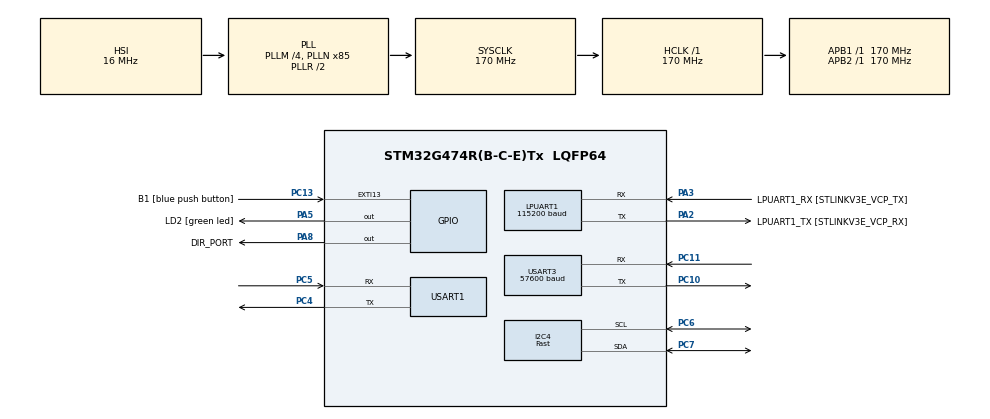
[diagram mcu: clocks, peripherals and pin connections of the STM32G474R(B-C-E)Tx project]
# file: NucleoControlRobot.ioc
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Dma.I2C4_RX.0.Direction=DMA_PERIPH_TO_MEMORY
Dma.I2C4_RX.0.EventEnable=DISABLE
Dma.I2C4_RX.0.Instance=DMA1_Channel1
Dma.I2C4_RX.0.MemDataAlignment=DMA_MDATAALIGN_BYTE
Dma.I2C4_RX.0.MemInc=DMA_MINC_ENABLE
Dma.I2C4_RX.0.Mode=DMA_NORMAL
Dma.I2C4_RX.0.PeriphDataAlignment=DMA_PDATAALIGN_BYTE
Dma.I2C4_RX.0.PeriphInc=DMA_PINC_DISABLE
Dma.I2C4_RX.0.Polarity=HAL_DMAMUX_REQ_GEN_RISING
Dma.I2C4_RX.0.Priority=DMA_PRIORITY_LOW
Dma.I2C4_RX.0.RequestNumber=1
Dma.I2C4_RX.0.SignalID=NONE
Dma.I2C4_RX.0.SyncEnable=DISABLE
Dma.I2C4_RX.0.SyncPolarity=HAL_DMAMUX_SYNC_NO_EVENT
Dma.I2C4_RX.0.SyncRequestNumber=1
Dma.I2C4_RX.0.SyncSignalID=NONE
Dma.I2C4_TX.1.Direction=DMA_MEMORY_TO_PERIPH
Dma.I2C4_TX.1.EventEnable=DISABLE
Dma.I2C4_TX.1.Instance=DMA1_Channel2
Dma.I2C4_TX.1.MemDataAlignment=DMA_MDATAALIGN_BYTE
Dma.I2C4_TX.1.MemInc=DMA_MINC_ENABLE
Dma.I2C4_TX.1.Mode=DMA_NORMAL
Dma.I2C4_TX.1.PeriphDataAlignment=DMA_PDATAALIGN_BYTE
Dma.I2C4_TX.1.PeriphInc=DMA_PINC_DISABLE
Dma.I2C4_TX.1.Polarity=HAL_DMAMUX_REQ_GEN_RISING
Dma.I2C4_TX.1.Priority=DMA_PRIORITY_LOW
Dma.I2C4_TX.1.RequestNumber=1
Dma.I2C4_TX.1.SignalID=NONE
Dma.I2C4_TX.1.SyncEnable=DISABLE
Dma.I2C4_TX.1.SyncPolarity=HAL_DMAMUX_SYNC_NO_EVENT
Dma.I2C4_TX.1.SyncRequestNumber=1
Dma.I2C4_TX.1.SyncSignalID=NONE
Dma.Request0=I2C4_RX
Dma.Request1=I2C4_TX
I2C4.I2C_Speed_Mode=I2C_Fast
I2C4.Timing=0x10802D9B
LPUART1.BaudRate=115200
LPUART1.WordLength=UART_WORDLENGTH_8B
Mcu.Family=STM32G4
Mcu.Name=STM32G474R(B-C-E)Tx
Mcu.Package=LQFP64
NVIC.DMA1_Channel1_IRQn=true\:0\:0\:false\:false\:true\:false\:true\:true
NVIC.DMA1_Channel2_IRQn=true\:0\:0\:false\:false\:true\:false\:true\:true
NVIC.EXTI15_10_IRQn=true\:0\:0\:false\:false\:true\:true\:true\:true
NVIC.I2C4_ER_IRQn=true\:0\:0\:false\:false\:true\:true\:true\:true
NVIC.I2C4_EV_IRQn=true\:0\:0\:false\:false\:true\:true\:true\:true
NVIC.PriorityGroup=NVIC_PRIORITYGROUP_4
NVIC.USART1_IRQn=true\:0\:0\:false\:false\:true\:true\:true\:true
NVIC.USART3_IRQn=true\:0\:0\:false\:false\:true\:true\:true\:true
PA13.GPIO_Label=T_SWDIO
PA13.Mode=Serial_Wire
PA13.Signal=SYS_JTMS-SWDIO
PA14.GPIO_Label=T_SWCLK
PA14.Mode=Serial_Wire
PA14.Signal=SYS_JTCK-SWCLK
PA2.GPIO_Label=LPUART1_TX [STLINKV3E_VCP_RX]
PA2.Mode=Asynchronous
PA2.Signal=LPUART1_TX
PA3.GPIO_Label=LPUART1_RX [STLINKV3E_VCP_TX]
PA3.Mode=Asynchronous
PA3.Signal=LPUART1_RX
PA5.GPIO_Label=LD2 [green led]
PA5.Signal=GPIO_Output
PA8.GPIO_Label=DIR_PORT
PA8.GPIO_Speed=GPIO_SPEED_FREQ_VERY_HIGH
PA8.Signal=GPIO_Output
PB3.GPIO_Label=T_SWO
PB3.Signal=SYS_JTDO-SWO
PC10.Mode=Asynchronous
PC10.Signal=USART3_TX
PC11.Mode=Asynchronous
PC11.Signal=USART3_RX
PC13.GPIO_Label=B1 [blue push button]
PC13.Signal=GPXTI13
PC14-OSC32_IN.Mode=LSE-External-Oscillator
PC14-OSC32_IN.Signal=RCC_OSC32_IN
PC15-OSC32_OUT.Mode=LSE-External-Oscillator
PC15-OSC32_OUT.Signal=RCC_OSC32_OUT
PC4.Mode=Asynchronous
PC4.Signal=USART1_TX
PC5.Mode=Asynchronous
PC5.Signal=USART1_RX
PC6.Mode=I2C
PC6.Signal=I2C4_SCL
PC7.Mode=I2C
PC7.Signal=I2C4_SDA
PF0-OSC_IN.Mode=HSE-External-Oscillator
PF0-OSC_IN.Signal=RCC_OSC_IN
PF1-OSC_OUT.Mode=HSE-External-Oscillator
PF1-OSC_OUT.Signal=RCC_OSC_OUT
ProjectManager.HeapSize=0x200
ProjectManager.StackSize=0x400
ProjectManager.TargetToolchain=STM32CubeIDE
RCC.ADC12Freq_Value=170000000
RCC.ADC345Freq_Value=170000000
RCC.AHBFreq_Value=170000000
RCC.APB1Freq_Value=170000000
RCC.APB1TimFreq_Value=170000000
RCC.APB2Freq_Value=170000000
RCC.APB2TimFreq_Value=170000000
RCC.CortexFreq_Value=170000000
RCC.EXTERNAL_CLOCK_VALUE=12288000
RCC.HCLKFreq_Value=170000000
RCC.HSE_VALUE=24000000
RCC.HSI48_VALUE=48000000
RCC.HSI_VALUE=16000000
RCC.PLLM=RCC_PLLM_DIV4
RCC.PLLN=85
RCC.RTCClockSelection=RCC_RTCCLKSOURCE_LSE
RCC.SYSCLKFreq_VALUE=170000000
RCC.SYSCLKSource=RCC_SYSCLKSOURCE_PLLCLK
RCC.USBFreq_Value=170000000
RCC.VCOOutputFreq_Value=340000000
USART1.VirtualMode-Asynchronous=VM_ASYNC
USART3.BaudRate=57600
USART3.VirtualMode-Asynchronous=VM_ASYNC
VP_SYS_VS_DBSignals.Mode=DisableDeadBatterySignals
board=NUCLEO-G474RE

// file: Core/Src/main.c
/* USER CODE BEGIN Header */
/**
  ******************************************************************************
  * @file           : main.c
  * @brief          : Main program body
  ******************************************************************************
  * @attention
  *
  * Copyright (c) 2026 STMicroelectronics.
  * All rights reserved.
  *
  * This software is licensed under terms that can be found in the LICENSE file
  * in the root directory of this software component.
  * If no LICENSE file comes with this software, it is provided AS-IS.
  *
  ******************************************************************************
  */
/* USER CODE END Header */
#include "main.h"

/* USER CODE BEGIN Includes */
#include <stdio.h>
#include <string.h>
#include <math.h>
#include <stdint.h>
/* USER CODE END Includes */

I2C_HandleTypeDef hi2c4;
DMA_HandleTypeDef hdma_i2c4_rx;
DMA_HandleTypeDef hdma_i2c4_tx;

UART_HandleTypeDef hlpuart1;
UART_HandleTypeDef huart1;
UART_HandleTypeDef huart3;

/* USER CODE BEGIN PV */
uint8_t rx_buffer[1];
int currentCommand = 0;

// Flag variable for communication between Interrupt and the main loop
volatile int process_command = -1;

//Var for State Machine and Live Expressions
uint8_t servo0_state = 0;       // Press states
float live_angle_ch0 = 0.0f;    // Angel on Live Expression
uint16_t live_pulse_ch0 = 0;    // Pulse on Live Expression

//PCA9685
#define PCA9685_ADDR 0x40 << 1
#define PCA_MODE1    0x00
#define PCA_PRESCALE 0xFE
#define PCA_LED0_ON_L 0x06
#define SERVO_MIN 150  // min pulse (0 deg)
#define SERVO_MAX 600  // max pulse (180 deg)
/* USER CODE END PV */

void SystemClock_Config(void);
static void MX_GPIO_Init(void);
static void MX_DMA_Init(void);
static void MX_LPUART1_UART_Init(void);
static void MX_USART1_UART_Init(void);
static void MX_I2C4_Init(void);
static void MX_USART3_UART_Init(void);

/* USER CODE BEGIN 0 */
void PCA9685_WriteReg(uint8_t reg, uint8_t value) {
    uint8_t data[2] = {reg, value};
    HAL_I2C_Master_Transmit(&hi2c4, PCA9685_ADDR, data, 2, 100);
}

uint8_t PCA9685_ReadReg(uint8_t reg) {
    uint8_t value;
    HAL_I2C_Master_Transmit(&hi2c4, PCA9685_ADDR, &reg, 1, 100);
    HAL_I2C_Master_Receive(&hi2c4, PCA9685_ADDR, &value, 1, 100);
    return value;
}

void PCA9685_Init(void) {
    PCA9685_WriteReg(PCA_MODE1, 0x00);
    float freq = 50.0f;
    float prescaleval = 25000000.0f;
    prescaleval /= 4096.0f;
    prescaleval /= freq;
    prescaleval -= 1.0f;
    uint8_t prescale = round(prescaleval);

    uint8_t oldmode = PCA9685_ReadReg(PCA_MODE1);
    uint8_t newmode = (oldmode & 0x7F) | 0x10;
    PCA9685_WriteReg(PCA_MODE1, newmode);
    PCA9685_WriteReg(PCA_PRESCALE, prescale);
    PCA9685_WriteReg(PCA_MODE1, oldmode);
    HAL_Delay(5);
    PCA9685_WriteReg(PCA_MODE1, oldmode | 0xA0);
}

void PCA9685_SetPWM(uint8_t channel, uint16_t on, uint16_t off) {
    uint8_t data[5];
    data[0] = PCA_LED0_ON_L + 4 * channel;
    data[1] = on & 0xFF;
    data[2] = on >> 8;
    data[3] = off & 0xFF;
    data[4] = off >> 8;
    HAL_I2C_Master_Transmit(&hi2c4, PCA9685_ADDR, data, 5, 100);
}

void PCA9685_SetAngle(uint8_t channel, float angle) {
    if(angle < 0.0f) angle = 0.0f;
    if(angle > 180.0f) angle = 180.0f;

    uint16_t pulse = SERVO_MIN + (uint16_t)((angle / 180.0f) * (SERVO_MAX - SERVO_MIN));
    PCA9685_SetPWM(channel, 0, pulse);

    if(channel == 0) {
        live_angle_ch0 = angle;
        live_pulse_ch0 = pulse;
    }
}
// ========================================================
//                DYNAMIXEL PROTOCOL 2.0
// =======================================================
// 1. Func Check CRC16
uint16_t update_crc(uint16_t crc_accum, uint8_t *data_blk_ptr, uint16_t data_blk_size) {
    uint16_t i, j;
    for(j = 0; j < data_blk_size; j++) {
        crc_accum ^= ((uint16_t)data_blk_ptr[j] << 8);
        for(i = 0; i < 8; i++) {
            if(crc_accum & 0x8000) crc_accum = (crc_accum << 1) ^ 0x8005;
            else crc_accum = (crc_accum << 1);
        }
    }
    return crc_accum;
}
// 2. Func control 74HC126 auto
void Dynamixel_Transmit(uint8_t *packet, uint16_t length) {
    // open transmit gate
    HAL_GPIO_WritePin(DIR_PORT_GPIO_Port, DIR_PORT_Pin, GPIO_PIN_SET);
    // transmit gate
    HAL_UART_Transmit(&huart3, packet, length, 100);
    // close transmit gate and prepare to recieve data
    HAL_GPIO_WritePin(DIR_PORT_GPIO_Port, DIR_PORT_Pin, GPIO_PIN_RESET);
}
// 3. Torque Enable
void Dynamixel_TorqueEnable(uint8_t id, uint8_t enable) {
    uint8_t packet[13];
    packet[0] = 0xFF; // Header 1
    packet[1] = 0xFF; // Header 2
    packet[2] = 0xFD; // Header 3
    packet[3] = 0x00; // Reserved
    packet[4] = id;   // Packet id
    packet[5] = 0x06; // Length Low
    packet[6] = 0x00; // Length High
    packet[7] = 0x03; // Instruction: WRITE DATA
    packet[8] = 64;   // Address Low Byte (0x40) 64 = enable torque
    packet[9] = 0x00; // Address High Byte (0x00)
    packet[10] = enable; // Header 1

    uint16_t crc = update_crc(0, packet, 11);
    packet[11] = crc & 0xFF;			// CRC Low Byte
    packet[12] = (crc >> 8) & 0xFF;		// CRC High Byte
    Dynamixel_Transmit(packet, 13);
}
// 4. Func control motor angles | Raw Packet | Step 0-4095
void Dynamixel_SetGoalPosition(uint8_t id, uint32_t position) {
    uint8_t packet[16];
    packet[0] = 0xFF;
    packet[1] = 0xFF;
    packet[2] = 0xFD;
    packet[3] = 0x00;
    packet[4] = id;
    packet[5] = 0x09;
    packet[6] = 0x00;
    packet[7] = 0x03;
    // --- Address 116 Goal Pos ---
    packet[8] = 116;
    packet[9] = 0x00;
    // --- Data 4 Bytes (Little-Endian) for 1 Angle ---
    packet[10] = position & 0xFF;
    packet[11] = (position >> 8) & 0xFF;
    packet[12] = (position >> 16) & 0xFF;
    packet[13] = (position >> 24) & 0xFF;

    uint16_t crc = update_crc(0, packet, 14);
    packet[14] = crc & 0xFF;
    packet[15] = (crc >> 8) & 0xFF;
    Dynamixel_Transmit(packet, 16);
}
// 5. Func Convert Deg to Step
void Dynamixel_SetGoalPosition_Degree(uint8_t id, float degree) {
    // Safety Limit
    if (degree < 0.0f) degree = 0.0f;
    if (degree > 360.0f) degree = 360.0f;

    // Convert Degree to Step (0-4095)
    uint32_t step_value = (uint32_t)((degree / 360.0f) * 4095.0f);

    // Send Step Packet
    Dynamixel_SetGoalPosition(id, step_value);
}
// 6. Main Func Read
uint8_t Dynamixel_ReadData(uint8_t id, uint16_t address, uint16_t length, uint8_t *out_data) {
    uint8_t tx_packet[14];
    tx_packet[0] = 0xFF;
    tx_packet[1] = 0xFF;
    tx_packet[2] = 0xFD;
    tx_packet[3] = 0x00;
    tx_packet[4] = id;
    tx_packet[5] = 0x07;
    tx_packet[6] = 0x00;
    tx_packet[7] = 0x02; // READ (0x02)

    // Read Address Little-Endian
    tx_packet[8] = address & 0xFF;
    tx_packet[9] = (address >> 8) & 0xFF;

    // Input Length of read
    tx_packet[10] = length & 0xFF;
    tx_packet[11] = (length >> 8) & 0xFF;

    uint16_t crc = update_crc(0, tx_packet, 12);
    tx_packet[12] = crc & 0xFF;
    tx_packet[13] = (crc >> 8) & 0xFF;

    // Clear RX
    __HAL_UART_CLEAR_OREFLAG(&huart3);
    __HAL_UART_FLUSH_DRREGISTER(&huart3);

    uint8_t dummy;
    while(HAL_UART_Receive(&huart3, &dummy, 1, 0) == HAL_OK) {}

    // Transmit Read command
    Dynamixel_Transmit(tx_packet, 14);

    // Calculate expected read bytes
    uint16_t expected_rx_length = 11 + length;

    uint8_t rx_packet[30];

    // Wait for 50ms
    if (HAL_UART_Receive(&huart3, rx_packet, expected_rx_length, 50) == HAL_OK) {
        // Check if data is from Protocol 2.0 and is the same ID
        if (rx_packet[0] == 0xFF && rx_packet[1] == 0xFF && rx_packet[2] == 0xFD && rx_packet[4] == id) {

            // read Error Code at byte num 8
            uint8_t error_code = rx_packet[8];
            if(error_code != 0) {
                // Print error to serial
                char msg[60];
                sprintf(msg, ">> [ERROR] Motor %d Hardware Error Code: 0x%02X\r\n", id, error_code);
                HAL_UART_Transmit(&hlpuart1, (uint8_t*)msg, strlen(msg), 100);
            }

            // out_data
            for(int i = 0; i < length; i++) {
                out_data[i] = rx_packet[9 + i];
            }
            return 1; // return 1 = success
        }
    }
    return 0; // return 0 = failed
}
// 7.Func Read current Pos (4 bytes; Address 132)
float Dynamixel_GetPresentPosition_Degree(uint8_t id) {
    uint8_t data[4];
    if (Dynamixel_ReadData(id, 132, 4, data)) {
        // Assembly 4 bytes to 32 int
        int32_t step_pos = (int32_t)(data[0] | (data[1] << 8) | (data[2] << 16) | (data[3] << 24));
        // Convert Step to Deg
        float degree = ((float)step_pos / 4095.0f) * 360.0f;
        return degree;
    }
    return -1.0f; // If fail return -1
}
// 8.Func Read Temperature
uint8_t Dynamixel_GetTemperature(uint8_t id) {
    uint8_t data[1];
    if (Dynamixel_ReadData(id, 146, 1, data)) {
        return data[0]; // °C
    }
    return 0; // If fail return 0
}
/* USER CODE END 0 */

int main(void)
{

  /* MCU Configuration--------------------------------------------------------*/

  /* Reset of all peripherals, Initializes the Flash interface and the Systick. */
  HAL_Init();

  /* Configure the system clock */
  SystemClock_Config();

  /* Initialize all configured peripherals */
  MX_GPIO_Init();
  MX_DMA_Init();
  MX_LPUART1_UART_Init();
  MX_USART1_UART_Init();
  MX_I2C4_Init();
  MX_USART3_UART_Init();
  /* USER CODE BEGIN 2 */
  PCA9685_Init();
  HAL_UART_Receive_IT(&huart1, rx_buffer, 1);
    char scan_msg[64];

    sprintf(scan_msg, "\r\n--- Starting I2C Scanner ---\r\n");
    HAL_UART_Transmit(&hlpuart1, (uint8_t*)scan_msg, strlen(scan_msg), 100);

    uint8_t device_count = 0;
    for(uint8_t i = 1; i < 128; i++) {

        HAL_StatusTypeDef result = HAL_I2C_IsDeviceReady(&hi2c4, (uint16_t)(i << 1), 2, 10);

        if (result == HAL_OK) {
            sprintf(scan_msg, "-> Found I2C Device at address: 0x%02X\r\n", i);
            HAL_UART_Transmit(&hlpuart1, (uint8_t*)scan_msg, strlen(scan_msg), 100);
            device_count++;
        }
    }

    if (device_count == 0) {
        sprintf(scan_msg, "-> No I2C devices found. Check Wiring!\r\n");
    } else {
        sprintf(scan_msg, "-> I2C Scan Complete. Found %d device(s).\r\n", device_count);
    }
    HAL_UART_Transmit(&hlpuart1, (uint8_t*)scan_msg, strlen(scan_msg), 100);
    sprintf(scan_msg, "----------------------------\r\n");
    HAL_UART_Transmit(&hlpuart1, (uint8_t*)scan_msg, strlen(scan_msg), 100);

    // PCA9685_Init();
    HAL_UART_Receive_IT(&huart1, rx_buffer, 1);
  /* USER CODE END 2 */

  /* Infinite loop */
    while (1)
  {

    /* USER CODE BEGIN 3 */
	  if (process_command != -1) {

		  switch(process_command) {
			  case 6:
				  if (servo0_state == 0) {
					  PCA9685_SetAngle(0, 0.0f);
					  servo0_state = 1;
				  }
				  else if (servo0_state == 1) {
					  PCA9685_SetAngle(0, 90.0f);
					  servo0_state = 2;
				  }
				  else if (servo0_state == 2) {
					  PCA9685_SetAngle(0, 180.0f);
					  servo0_state = 0;
				  }
				  break;

			  case 7:
				  {
					  static uint8_t toggle_pos = 0;
					  uint8_t id_to_test = 7;

					  // Enable torque
					  Dynamixel_TorqueEnable(id_to_test, 1);
					  HAL_Delay(10);

					  // Move to the angle
					  if(toggle_pos == 0) {
						  Dynamixel_SetGoalPosition_Degree(id_to_test, 180.0f);
						  toggle_pos = 1;
						  char msg[] = "Plz Moving to 180 Deg\r\n";
						  HAL_UART_Transmit(&hlpuart1, (uint8_t*)msg, strlen(msg), 100);
					  }
					  else {
						  Dynamixel_SetGoalPosition_Degree(id_to_test, 90.0f);
						  toggle_pos = 0;
						  char msg[] = "Plz Moving to 90 Deg\r\n";
						  HAL_UART_Transmit(&hlpuart1, (uint8_t*)msg, strlen(msg), 100);
					  }

					  HAL_Delay(50); //Delay for motor to prepare

					  // Read Current Pos and Temp
					  float current_deg = Dynamixel_GetPresentPosition_Degree(id_to_test);
					  uint8_t current_temp = Dynamixel_GetTemperature(id_to_test);

					  char msg[100];
					  if(current_deg != -1.0f) {
						  sprintf(msg, "ID:%d | Target Sent. Current Pos: %.2f Deg | Temp: %d C\r\n",id_to_test, current_deg, current_temp);
					  }

					  else {
						  sprintf(msg, "ID:%d | Target Sent, but FAILED to read status!\r\n", id_to_test);
					  }
					  HAL_UART_Transmit(&hlpuart1, (uint8_t*)msg, strlen(msg), 100);
				  }
				  break;
		  }
		  process_command = -1;
	  }
  }
  /* USER CODE END 3 */
}

void SystemClock_Config(void)
{
  RCC_OscInitTypeDef RCC_OscInitStruct = {0};
  RCC_ClkInitTypeDef RCC_ClkInitStruct = {0};

  /** Configure the main internal regulator output voltage
  */
  HAL_PWREx_ControlVoltageScaling(PWR_REGULATOR_VOLTAGE_SCALE1_BOOST);

  /** Initializes the RCC Oscillators according to the specified parameters
  * in the RCC_OscInitTypeDef structure.
  */
  RCC_OscInitStruct.OscillatorType = RCC_OSCILLATORTYPE_HSI;
  RCC_OscInitStruct.HSIState = RCC_HSI_ON;
  RCC_OscInitStruct.HSICalibrationValue = RCC_HSICALIBRATION_DEFAULT;
  RCC_OscInitStruct.PLL.PLLState = RCC_PLL_ON;
  RCC_OscInitStruct.PLL.PLLSource = RCC_PLLSOURCE_HSI;
  RCC_OscInitStruct.PLL.PLLM = RCC_PLLM_DIV4;
  RCC_OscInitStruct.PLL.PLLN = 85;
  RCC_OscInitStruct.PLL.PLLP = RCC_PLLP_DIV2;
  RCC_OscInitStruct.PLL.PLLQ = RCC_PLLQ_DIV2;
  RCC_OscInitStruct.PLL.PLLR = RCC_PLLR_DIV2;
  if (HAL_RCC_OscConfig(&RCC_OscInitStruct) != HAL_OK)
  {
    Error_Handler();
  }

  /** Initializes the CPU, AHB and APB buses clocks
  */
  RCC_ClkInitStruct.ClockType = RCC_CLOCKTYPE_HCLK|RCC_CLOCKTYPE_SYSCLK
                              |RCC_CLOCKTYPE_PCLK1|RCC_CLOCKTYPE_PCLK2;
  RCC_ClkInitStruct.SYSCLKSource = RCC_SYSCLKSOURCE_PLLCLK;
  RCC_ClkInitStruct.AHBCLKDivider = RCC_SYSCLK_DIV1;
  RCC_ClkInitStruct.APB1CLKDivider = RCC_HCLK_DIV1;
  RCC_ClkInitStruct.APB2CLKDivider = RCC_HCLK_DIV1;

  if (HAL_RCC_ClockConfig(&RCC_ClkInitStruct, FLASH_LATENCY_4) != HAL_OK)
  {
    Error_Handler();
  }
}

static void MX_I2C4_Init(void)
{

  hi2c4.Instance = I2C4;
  hi2c4.Init.Timing = 0x10802D9B;
  hi2c4.Init.OwnAddress1 = 0;
  hi2c4.Init.AddressingMode = I2C_ADDRESSINGMODE_7BIT;
  hi2c4.Init.DualAddressMode = I2C_DUALADDRESS_DISABLE;
  hi2c4.Init.OwnAddress2 = 0;
  hi2c4.Init.OwnAddress2Masks = I2C_OA2_NOMASK;
  hi2c4.Init.GeneralCallMode = I2C_GENERALCALL_DISABLE;
  hi2c4.Init.NoStretchMode = I2C_NOSTRETCH_DISABLE;
  if (HAL_I2C_Init(&hi2c4) != HAL_OK)
  {
    Error_Handler();
  }

  /** Configure Analogue filter
  */
  if (HAL_I2CEx_ConfigAnalogFilter(&hi2c4, I2C_ANALOGFILTER_ENABLE) != HAL_OK)
  {
    Error_Handler();
  }

  /** Configure Digital filter
  */
  if (HAL_I2CEx_ConfigDigitalFilter(&hi2c4, 0) != HAL_OK)
  {
    Error_Handler();
  }

}

static void MX_LPUART1_UART_Init(void)
{

  hlpuart1.Instance = LPUART1;
  hlpuart1.Init.BaudRate = 115200;
  hlpuart1.Init.WordLength = UART_WORDLENGTH_8B;
  hlpuart1.Init.StopBits = UART_STOPBITS_1;
  hlpuart1.Init.Parity = UART_PARITY_NONE;
  hlpuart1.Init.Mode = UART_MODE_TX_RX;
  hlpuart1.Init.HwFlowCtl = UART_HWCONTROL_NONE;
  hlpuart1.Init.OneBitSampling = UART_ONE_BIT_SAMPLE_DISABLE;
  hlpuart1.Init.ClockPrescaler = UART_PRESCALER_DIV1;
  hlpuart1.AdvancedInit.AdvFeatureInit = UART_ADVFEATURE_NO_INIT;
  if (HAL_UART_Init(&hlpuart1) != HAL_OK)
  {
    Error_Handler();
  }
  if (HAL_UARTEx_SetTxFifoThreshold(&hlpuart1, UART_TXFIFO_THRESHOLD_1_8) != HAL_OK)
  {
    Error_Handler();
  }
  if (HAL_UARTEx_SetRxFifoThreshold(&hlpuart1, UART_RXFIFO_THRESHOLD_1_8) != HAL_OK)
  {
    Error_Handler();
  }
  if (HAL_UARTEx_DisableFifoMode(&hlpuart1) != HAL_OK)
  {
    Error_Handler();
  }

}

static void MX_USART1_UART_Init(void)
{

  huart1.Instance = USART1;
  huart1.Init.BaudRate = 115200;
  huart1.Init.WordLength = UART_WORDLENGTH_8B;
  huart1.Init.StopBits = UART_STOPBITS_1;
  huart1.Init.Parity = UART_PARITY_NONE;
  huart1.Init.Mode = UART_MODE_TX_RX;
  huart1.Init.HwFlowCtl = UART_HWCONTROL_NONE;
  huart1.Init.OverSampling = UART_OVERSAMPLING_16;
  huart1.Init.OneBitSampling = UART_ONE_BIT_SAMPLE_DISABLE;
  huart1.Init.ClockPrescaler = UART_PRESCALER_DIV1;
  huart1.AdvancedInit.AdvFeatureInit = UART_ADVFEATURE_NO_INIT;
  if (HAL_UART_Init(&huart1) != HAL_OK)
  {
    Error_Handler();
  }
  if (HAL_UARTEx_SetTxFifoThreshold(&huart1, UART_TXFIFO_THRESHOLD_1_8) != HAL_OK)
  {
    Error_Handler();
  }
  if (HAL_UARTEx_SetRxFifoThreshold(&huart1, UART_RXFIFO_THRESHOLD_1_8) != HAL_OK)
  {
    Error_Handler();
  }
  if (HAL_UARTEx_DisableFifoMode(&huart1) != HAL_OK)
  {
    Error_Handler();
  }

}

static void MX_USART3_UART_Init(void)
{

  huart3.Instance = USART3;
  huart3.Init.BaudRate = 57600;
  huart3.Init.WordLength = UART_WORDLENGTH_8B;
  huart3.Init.StopBits = UART_STOPBITS_1;
  huart3.Init.Parity = UART_PARITY_NONE;
  huart3.Init.Mode = UART_MODE_TX_RX;
  huart3.Init.HwFlowCtl = UART_HWCONTROL_NONE;
  huart3.Init.OverSampling = UART_OVERSAMPLING_16;
  huart3.Init.OneBitSampling = UART_ONE_BIT_SAMPLE_DISABLE;
  huart3.Init.ClockPrescaler = UART_PRESCALER_DIV1;
  huart3.AdvancedInit.AdvFeatureInit = UART_ADVFEATURE_NO_INIT;
  if (HAL_UART_Init(&huart3) != HAL_OK)
  {
    Error_Handler();
  }
  if (HAL_UARTEx_SetTxFifoThreshold(&huart3, UART_TXFIFO_THRESHOLD_1_8) != HAL_OK)
  {
    Error_Handler();
  }
  if (HAL_UARTEx_SetRxFifoThreshold(&huart3, UART_RXFIFO_THRESHOLD_1_8) != HAL_OK)
  {
    Error_Handler();
  }
  if (HAL_UARTEx_DisableFifoMode(&huart3) != HAL_OK)
  {
    Error_Handler();
  }

}

static void MX_DMA_Init(void)
{

  /* DMA controller clock enable */
  __HAL_RCC_DMAMUX1_CLK_ENABLE();
  __HAL_RCC_DMA1_CLK_ENABLE();

  /* DMA interrupt init */
  /* DMA1_Channel1_IRQn interrupt configuration */
  HAL_NVIC_SetPriority(DMA1_Channel1_IRQn, 0, 0);
  HAL_NVIC_EnableIRQ(DMA1_Channel1_IRQn);
  /* DMA1_Channel2_IRQn interrupt configuration */
  HAL_NVIC_SetPriority(DMA1_Channel2_IRQn, 0, 0);
  HAL_NVIC_EnableIRQ(DMA1_Channel2_IRQn);

}

static void MX_GPIO_Init(void)
{
  GPIO_InitTypeDef GPIO_InitStruct = {0};

  /* GPIO Ports Clock Enable */
  __HAL_RCC_GPIOC_CLK_ENABLE();
  __HAL_RCC_GPIOF_CLK_ENABLE();
  __HAL_RCC_GPIOA_CLK_ENABLE();
  __HAL_RCC_GPIOB_CLK_ENABLE();

  /*Configure GPIO pin Output Level */
  HAL_GPIO_WritePin(GPIOA, LD2_Pin|DIR_PORT_Pin, GPIO_PIN_RESET);

  /*Configure GPIO pin : B1_Pin */
  GPIO_InitStruct.Pin = B1_Pin;
  GPIO_InitStruct.Mode = GPIO_MODE_IT_RISING;
  GPIO_InitStruct.Pull = GPIO_NOPULL;
  HAL_GPIO_Init(B1_GPIO_Port, &GPIO_InitStruct);

  /*Configure GPIO pin : LD2_Pin */
  GPIO_InitStruct.Pin = LD2_Pin;
  GPIO_InitStruct.Mode = GPIO_MODE_OUTPUT_PP;
  GPIO_InitStruct.Pull = GPIO_NOPULL;
  GPIO_InitStruct.Speed = GPIO_SPEED_FREQ_LOW;
  HAL_GPIO_Init(LD2_GPIO_Port, &GPIO_InitStruct);

  /*Configure GPIO pin : DIR_PORT_Pin */
  GPIO_InitStruct.Pin = DIR_PORT_Pin;
  GPIO_InitStruct.Mode = GPIO_MODE_OUTPUT_PP;
  GPIO_InitStruct.Pull = GPIO_NOPULL;
  GPIO_InitStruct.Speed = GPIO_SPEED_FREQ_VERY_HIGH;
  HAL_GPIO_Init(DIR_PORT_GPIO_Port, &GPIO_InitStruct);

  /* EXTI interrupt init*/
  HAL_NVIC_SetPriority(EXTI15_10_IRQn, 0, 0);
  HAL_NVIC_EnableIRQ(EXTI15_10_IRQn);

}

/* USER CODE BEGIN 4 */
void HAL_UART_RxCpltCallback(UART_HandleTypeDef *huart) {
    if (huart->Instance == USART1) {

        if (rx_buffer[0] >= '0' && rx_buffer[0] <= '9') {
            currentCommand = rx_buffer[0] - '0';
            process_command = currentCommand;
        }

        HAL_UART_Receive_IT(&huart1, rx_buffer, 1);
    }
}
/* USER CODE END 4 */

void Error_Handler(void)
{
  __disable_irq();
  while (1)
  {
  }
}
